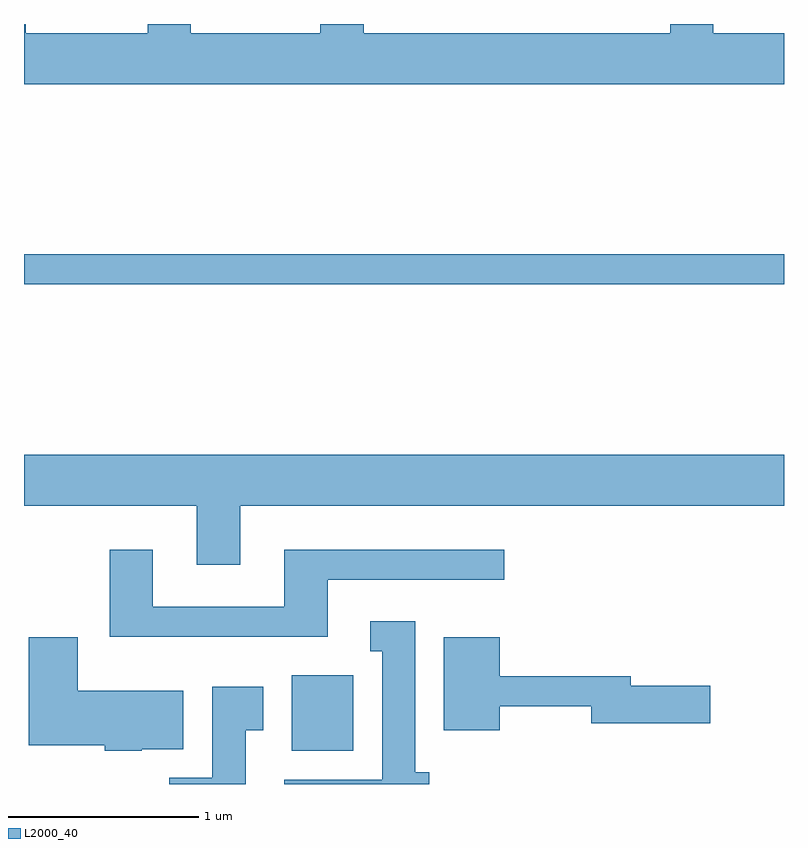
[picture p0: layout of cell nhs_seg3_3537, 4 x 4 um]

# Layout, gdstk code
import gdstk
lib = gdstk.Library(unit=1e-6, precision=1e-09)
def R(c, l, rs):  # rectangles x0, y0, x1, y1
    for r in rs: c.add(gdstk.rectangle(r[:2], r[2:], *l))
def P(c, l, *ps):  # polygons
    for p in ps: c.add(gdstk.Polygon(p, *l))
L2000_40 = (2000, 40)

nhs_seg3_3537 = lib.new_cell('nhs_seg3_3537')
R(nhs_seg3_3537, L2000_40, [(291.021,1118.066,291.344,1118.464), (289.611,1120.521,293.611,1120.679)])
P(nhs_seg3_3537, L2000_40, [(293.611,1121.844),(293.239,1121.844),(293.239,1121.892),(293.011,1121.892),(293.011,1121.844),(291.399,1121.844),(291.399,1121.892),(291.171,1121.892),(291.171,1121.844),(290.489,1121.844),(290.489,1121.892),(290.261,1121.892),(290.261,1121.844),(289.619,1121.844),(289.619,1121.892),(289.611,1121.892),(289.611,1121.576),(293.611,1121.576)],
  [(290.749,1119.356),(293.611,1119.356),(293.611,1119.624),(289.611,1119.624),(289.611,1119.356),(290.521,1119.356),(290.521,1119.046),(290.749,1119.046)],
  [(291.209,1118.966),(292.138,1118.966),(292.138,1119.124),(290.981,1119.124),(290.981,1118.824),(290.289,1118.824),(290.289,1119.124),(290.061,1119.124),(290.061,1118.666),(291.209,1118.666)],
  [(291.744,1117.954),(291.669,1117.954),(291.669,1118.749),(291.433,1118.749),(291.433,1118.591),(291.496,1118.591),(291.496,1117.914),(290.981,1117.914),(290.981,1117.892),(291.744,1117.892)],
  [(290.23,1118.076),(290.449,1118.076),(290.449,1118.384),(289.894,1118.384),(289.894,1118.664),(289.636,1118.664),(289.636,1118.096),(290.036,1118.096),(290.036,1118.066),(290.23,1118.066)],
  [(292.114,1118.301),(292.596,1118.301),(292.596,1118.211),(293.224,1118.211),(293.224,1118.409),(292.804,1118.409),(292.804,1118.459),(292.114,1118.459),(292.114,1118.664),(291.821,1118.664),(291.821,1118.176),(292.114,1118.176)],
  [(290.779,1118.176),(290.869,1118.176),(290.869,1118.404),(290.601,1118.404),(290.601,1117.924),(290.376,1117.924),(290.376,1117.892),(290.779,1117.892)])

lib.write_gds('nhs_seg3_3537.gds')
